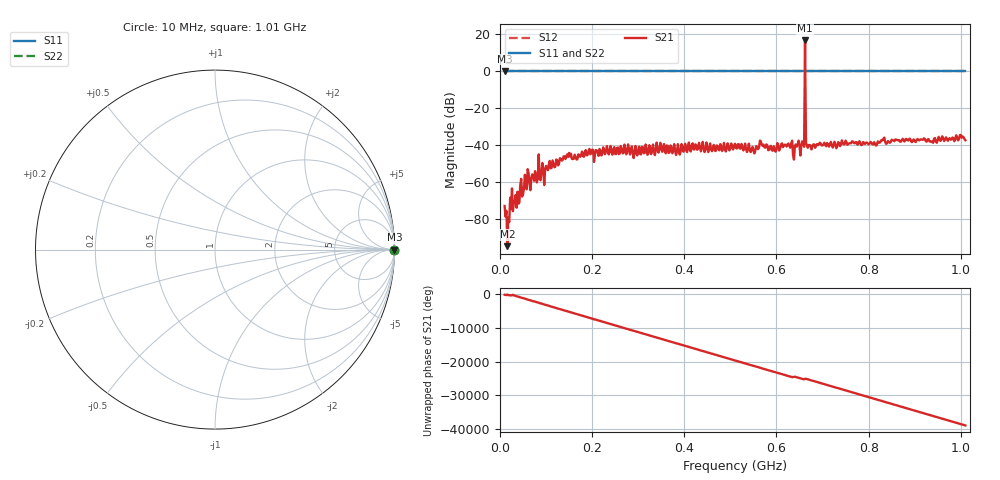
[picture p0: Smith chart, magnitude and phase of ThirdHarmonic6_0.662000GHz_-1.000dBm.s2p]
! 8/15/2025 10:00:55 PM
! C:\ANRITSUVNA\TEMP\TEMP.S2P
! CHANNEL.1
! TR.MEASUREMENT
! RAW.DATA
! RF.CORRECTION.OFF
! AVERAGING.OFF
! IF.BANDWIDTH: 5KHZ
! SWEEPTYPE:  FREQ.SWEEP(Linear)
! Reference Plane Port Info
! PORT:  PORT1  PORT2
! DISTANCE:  0  m  0  m
! TIME:  0  s  0  s
! PHASE.OFFSET:  0  deg.  0  deg.
! LOSS:  0  dB  0  dB
! REF.LOSS:  0  dB  0  dB
! REF.FREQ:  0  Hz  0  Hz
! Power Info
! POWER:  -20  dBm  -20  dBm
! EFF.POWER:  -20  dBm  -20  dBm
! SOURCE.ATTEN:  0  dB  0  dB
! TEST.ATTEN:  0  dB  0  dB
# GHZ S RI R 50.0
! FREQ.GHZ  S11RE  S11IM  S21RE  S21IM  S12RE  S12IM  S22RE  S22IM
!; PortSelection: Port_12
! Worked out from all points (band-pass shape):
!   501 points, 10 MHz to 1.01 GHz, reference 50 ohm
!   highest |S21| = 16.43 dB at 662 MHz (marker M1); lowest = -94.7 dB at 16 MHz (marker M2)
!   |S21| within 3 dB of the highest: 661.8955 MHz to 662.1084 MHz (212.9 kHz wide, 0.0322 % of centre)
!   lowest |S11| = 0.0 dB at 10 MHz (marker M3)
!   |S11| at or under -10 dB: nowhere
!   |S22| runs from 0.0 to 0.0 dB; largest |S21 - S12| = 7.3
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0.01  1 0  5.06e-05 -0.000219  1 0  1 0
0.016  1 0  1.74e-05 -6.2e-06  1 0  1 0
0.026  1 0  -0.000465 0.000479  1 0  1 0
0.038  1 0  -0.000391 0.000381  1 0  1 0
0.058  1 0  0.000498 0.000392  1 0  1 0
0.07  1 0  -0.00116 -0.00112  1 0  1 0
0.088  1 0  -0.000497 -0.000993  1 0  1 0
0.092  1 0  0.00068 0.00318  1 0  1 0
0.104  1 0  0.00148 -0.00146  1 0  1 0
0.15  1 0  -0.00351 -0.00498  1 0  1 0
0.178  1 0  -0.00623 -0.00218  1 0  1 0
0.344  1 0  0.00621 -4.7e-05  1 0  1 0
0.51  1 0  -0.0108 0.000513  1 0  1 0
0.64  1 0  0.00887 0.00336  1 0  1 0
0.656  1 0  -0.00239 0.0123  1 0  1 0
0.658  1 0  0.0113 -0.000557  1 0  1 0
0.662  1 0  -3.866 5.386  1 0  1 0
0.666  1 0  0.00757 0.00607  1 0  1 0
0.668  1 0  0.0072 -0.0043  1 0  1 0
0.678  1 0  0.0043 -0.00816  1 0  1 0
0.844  1 0  -0.00441 0.0112  1 0  1 0
1.01  1 0  0.00507 -0.0124  1 0  1 0
